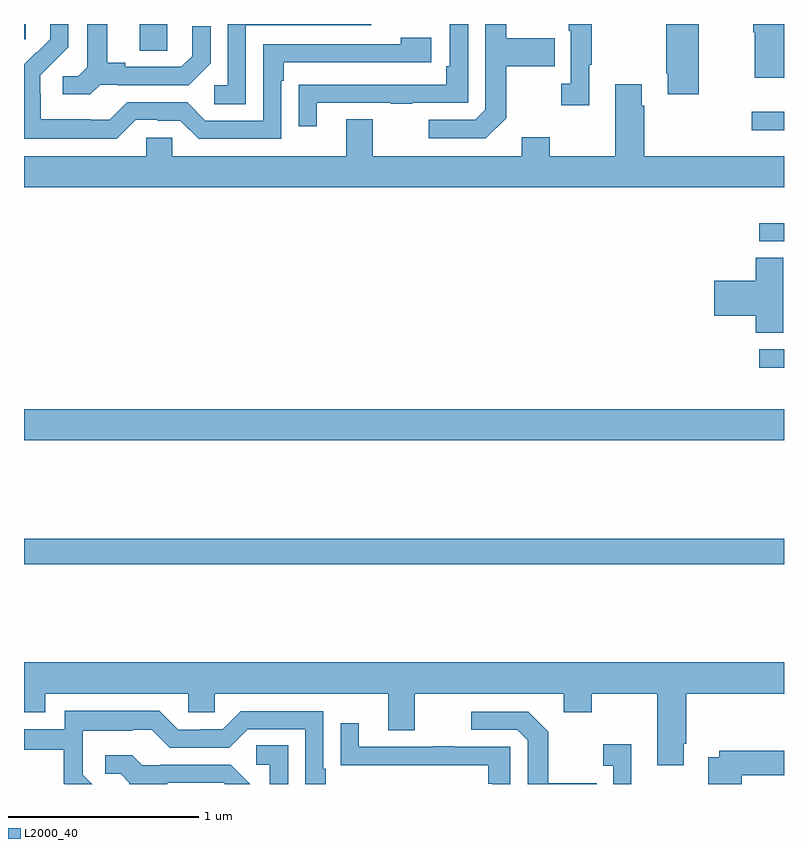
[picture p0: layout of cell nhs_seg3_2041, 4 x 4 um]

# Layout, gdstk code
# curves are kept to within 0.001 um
import gdstk
lib = gdstk.Library(unit=1e-6, precision=1e-09)
def R(c, l, rs):  # rectangles x0, y0, x1, y1
    for r in rs: c.add(gdstk.rectangle(r[:2], r[2:], *l))
def P(c, l, *ps):  # polygons
    for p in ps: c.add(gdstk.Polygon(p, *l))
L2000_40 = (2000, 40)

nhs_seg3_2041 = lib.new_cell('nhs_seg3_2041')
R(nhs_seg3_2041, L2000_40, [(215,741.556,219,741.692), (215,742.208,219,742.372), (218.871,742.591,219,742.689), (218.871,743.256,219,743.352), (218.829,743.84,219,743.937), (215.609,744.259,215.754,744.4), (215,744.321,215.008,744.4)])
P(nhs_seg3_2041, L2000_40, [(216.541,743.985),(216.931,743.985),(216.931,743.98),(217.043,743.98),(217.043,743.985),(217.338,743.985),(217.338,744.4),(217.242,744.4),(217.242,744.178),(217.222,744.178),(217.222,744.081),(216.547,744.081),(216.547,744.08),(216.445,744.08),(216.445,743.862),(216.541,743.862)],
  [(216.168,744.393),(216.827,744.393),(216.827,744.4),(216.072,744.4),(216.072,744.078),(216,744.078),(216,743.977),(216.168,743.977)],
  [(215.4,744.081),(215.494,744.081),(215.494,744.078),(215.866,744.078),(215.982,744.194),(215.982,744.388),(215.885,744.388),(215.885,744.231),(215.828,744.174),(215.533,744.174),(215.533,744.197),(215.437,744.197),(215.437,744.4),(215.333,744.4),(215.333,744.173),(215.286,744.126),(215.205,744.126),(215.205,744.029),(215.348,744.029)],
  [(218.55,744.4),(218.38,744.4),(218.38,744.142),(218.387,744.142),(218.387,744.03),(218.55,744.03)],
  [(215.589,743.895),(215.705,743.895),(215.705,743.892),(215.823,743.892),(215.919,743.796),(216.354,743.796),(216.354,744.101),(216.367,744.101),(216.367,744.198),(217.144,744.198),(217.144,744.328),(216.983,744.328),(216.983,744.294),(216.258,744.294),(216.258,743.892),(215.955,743.892),(215.859,743.988),(215.544,743.988),(215.451,743.895),(215.351,743.895),(215.351,743.899),(215.088,743.899),(215.088,744.033),(215.086,744.033),(215.086,744.13),(215.232,744.278),(215.232,744.4),(215.138,744.4),(215.138,744.32),(215.067,744.249),(215.064,744.252),(215,744.188),(215,743.795),(215.489,743.795)],
  [(217.537,743.905),(217.537,744.178),(217.793,744.178),(217.793,744.325),(217.537,744.325),(217.537,744.4),(217.428,744.4),(217.428,743.949),(217.374,743.895),(217.131,743.895),(217.131,743.799),(217.431,743.799)],
  [(217.975,744.185),(217.987,744.185),(217.987,744.4),(217.866,744.4),(217.866,744.365),(217.878,744.365),(217.878,744.086),(217.827,744.086),(217.827,743.973),(217.975,743.973)],
  [(219,744.4),(218.839,744.4),(218.839,744.356),(218.846,744.356),(218.846,744.116),(219,744.116)],
  [(218.111,744.082),(218.111,743.704),(217.767,743.704),(217.767,743.803),(217.619,743.803),(217.619,743.704),(216.835,743.704),(216.835,743.899),(216.695,743.899),(216.695,743.704),(215.781,743.704),(215.781,743.802),(215.643,743.802),(215.643,743.704),(215,743.704),(215,743.54),(219,743.54),(219,743.704),(218.264,743.704),(218.264,743.969),(218.251,743.969),(218.251,744.082)],
  [(218.995,743.171),(218.852,743.171),(218.852,743.048),(218.634,743.048),(218.634,742.865),(218.852,742.865),(218.852,742.774),(218.995,742.774)],
  [(218.473,740.611),(218.486,740.611),(218.486,740.876),(219,740.876),(219,741.04),(215,741.04),(215,740.777),(215.113,740.777),(215.113,740.876),(215.865,740.876),(215.865,740.778),(216.003,740.778),(216.003,740.876),(216.917,740.876),(216.917,740.682),(217.057,740.682),(217.057,740.876),(217.841,740.876),(217.841,740.777),(217.989,740.777),(217.989,740.876),(218.333,740.876),(218.333,740.499),(218.473,740.499)],
  [(215.308,740.45),(215.308,740.547),(215.31,740.547),(215.31,740.681),(215.573,740.681),(215.573,740.685),(215.673,740.685),(215.766,740.592),(216.081,740.592),(216.177,740.688),(216.48,740.688),(216.48,740.4),(216.589,740.4),(216.589,740.479),(216.576,740.479),(216.576,740.784),(216.141,740.784),(216.045,740.688),(215.927,740.688),(215.927,740.685),(215.811,740.685),(215.711,740.785),(215.214,740.785),(215.214,740.688),(215,740.688),(215,740.58),(215.209,740.58),(215.209,740.405),(215.214,740.4),(215.358,740.4)],
  [(218.015,740.403),(217.759,740.403),(217.759,740.675),(217.653,740.781),(217.353,740.781),(217.353,740.685),(217.596,740.685),(217.65,740.631),(217.65,740.4),(218.015,740.4)],
  [(217.56,740.595),(217.265,740.595),(217.265,740.6),(217.153,740.6),(217.153,740.595),(216.763,740.595),(216.763,740.719),(216.667,740.719),(216.667,740.5),(216.769,740.5),(216.769,740.499),(217.444,740.499),(217.444,740.402),(217.464,740.402),(217.464,740.4),(217.56,740.4)],
  [(218.197,740.608),(218.049,740.608),(218.049,740.495),(218.1,740.495),(218.1,740.4),(218.197,740.4)],
  [(216.39,740.603),(216.222,740.603),(216.222,740.502),(216.294,740.502),(216.294,740.4),(216.39,740.4)],
  [(218.777,740.446),(219,740.446),(219,740.575),(218.658,740.575),(218.658,740.542),(218.602,740.542),(218.602,740.4),(218.777,740.4)],
  [(215.755,740.406),(216.05,740.406),(216.056,740.4),(216.19,740.4),(216.088,740.502),(215.716,740.502),(215.716,740.499),(215.622,740.499),(215.57,740.551),(215.427,740.551),(215.427,740.454),(215.508,740.454),(215.555,740.407),(215.555,740.4),(215.755,740.4)])

lib.write_gds('nhs_seg3_2041.gds')
